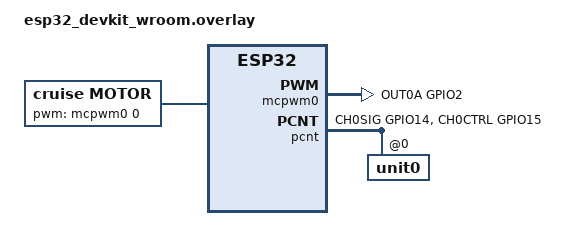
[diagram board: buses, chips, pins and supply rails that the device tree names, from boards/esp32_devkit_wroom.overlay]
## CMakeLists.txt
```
cmake_minimum_required(VERSION 3.20.0)

set(BOARD esp32_devkitc_wroom)
set(DTO_DIR ${CMAKE_CURRENT_SOURCE_DIR}/boards)
set(DTC_OVERLAY_FILE ${DTO_DIR}/esp32_devkit_wroom.overlay)
find_package(Zephyr REQUIRED HINTS $ENV{ZEPHYR_BASE})

project(cruise_control)

target_sources(app PRIVATE 
    src/serial/serial_handler.c
    src/control/motor.c
    src/control/pid.c
    src/control/moving_avg.c
    src/main.c
)
```

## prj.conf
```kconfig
CONFIG_ESP32_USE_UNSUPPORTED_REVISION=y
CONFIG_STDOUT_CONSOLE=y
CONFIG_UART_INTERRUPT_DRIVEN=y
CONFIG_GPIO=y
CONFIG_PWM=y
CONFIG_PWM_CAPTURE=y
CONFIG_FPU=y
CONFIG_SENSOR=y
```

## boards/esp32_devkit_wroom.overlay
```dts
/{

    motor: motor{
        compatible = "cruise,motor";
        pwms = <&mcpwm0 0 0 PWM_POLARITY_NORMAL>;

        motor_pins: pins {
            gpios = <&gpio0 5 GPIO_ACTIVE_HIGH>,
                    <&gpio0 18 	GPIO_ACTIVE_HIGH>;
            label = "motor_pins";
        };

    };

    aliases {
        qdec0 = &pcnt;
    };

};

&pinctrl {
    mcpwm0_default: mcpwm0_default {
        group1 {
            pinmux = <MCPWM0_OUT0A_GPIO2>;
            input-enable;
        };
    };

    pcnt_default: pcnt_default {
        group1 {
            pinmux = <PCNT0_CH0SIG_GPIO14>,
                     <PCNT0_CH0CTRL_GPIO15>;
            bias-pull-up;
        };
    };
};


&mcpwm0 {
    pinctrl-0 = <&mcpwm0_default>;
    pinctrl-names = "default";
    prescale = <3>;
    prescale-timer0 = <3>;
    status = "okay";
};


&pcnt {
    pinctrl-0 = <&pcnt_default>;
    pinctrl-names = "default";
    status = "okay";
    #address-cells = <1>;
    #size-cells = <0>;
    unit0@0 {
        reg = <0>;
        #address-cells = <1>;
        #size-cells = <0>;
        //filter = <100>;
        channelA@0 {
            reg = <0>;
            sig-pos-mode = <2>;
            sig-neg-mode = <1>;
            ctrl-h-mode = <0>;
            ctrl-l-mode = <1>;
        };
    };
};
```

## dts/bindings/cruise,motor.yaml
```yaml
description: |
    This binding provides resources required to use the pwm API with a generic application: This will be used to controll a motor later so now will be like this
compatible: "cruise,motor"

properties:
  pwms:
    type: phandle-array
    required: true
    description: |
      PWM pins that will be used for generating and capturing a pulse-width
      modulated signal. The pin at the first index will be used for signal
      generation while the pin at the second index will be used for capuring
      the generated signal.
  

child-binding:
  description: GPIO child node
  properties:
  
    gpios:
      type: phandle-array
      required: true
    
    label:
      type: string
      description: |
        Human readable string describing the gpio pin. It can be used by an
        application to identify this pin or to retrieve its number/index
        (i.e. child node number) on the parent device.
```

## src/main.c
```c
#include <zephyr/kernel.h>
#include <zephyr/sys/printk.h>
#include <zephyr/device.h>
#include "serial/serial_handler.h"
#include "control/motor.h"
#include <stdlib.h>
#include "pid.h"

#define q_msg_size 32

K_MSGQ_DEFINE(uart_queue, q_msg_size, 10, 4);

int main(void)
{

    char tx_buf[50];
    if (serial_init())
    {
        printk("Serial started");
    }
    else
    {
        printk("Serial got some error\n");
    }

    if (init_motor())
    {
        printk("PWM started");
    }
    else
    {
        printk("Error to start pwm");
    }

    //set_motor_direction_forward();
    set_motor_direction_backward();
    set_pwm_duty_period(0);
    start_pid_controller();
    int target = 0;
    while (1)
    {
        if (k_msgq_get(&uart_queue, &tx_buf, K_NO_WAIT) == 0)
        {
            target = atoi(tx_buf);
            if(target < 0){
                target *= -1;
            }
            set_pid_target_rpm(target);
        };
        k_sleep(K_USEC(50));
    }

    return 0;
}
```

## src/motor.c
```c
#include "motor.h"



/* Device structs*/
static const struct pwm_dt_spec pwm = PWM_DT_SPEC_GET_BY_IDX(DT_NODELABEL(motor), 0);
static const struct gpio_dt_spec forward_pin = GPIO_DT_SPEC_GET_BY_IDX(DT_NODELABEL(motor_pins),gpios,0);
static const struct gpio_dt_spec backward_pin = GPIO_DT_SPEC_GET_BY_IDX(DT_NODELABEL(motor_pins),gpios,1);
const struct device *const dev = DEVICE_DT_GET(DT_ALIAS(qdec0));


/* Motor status struct */

struct motor_status motor = {
    .isForward = false,
    .rpm = 0,
    .velocity = 0
};



/* Global variables for velocity*/
_Atomic int32_t current_rpm = 0;

static int16_t prev_pulse_count = 0;
static double velocity = 0.0;

/* Timer struct*/
static struct k_timer calculate_velocity_tim;

/* Velocity calc timer*/
static void calculate_velocity_tim_callback(struct k_timer *tim)
{
	struct sensor_value val;
    int16_t delta_count;

	if (sensor_sample_fetch(dev) != 0)
	{
		printk("Failed to fetch sample\n");
	}
	else
	{
		sensor_channel_get(dev, SENSOR_CHAN_ROTATION, &val);
        delta_count = val.val1 - prev_pulse_count;
        if(delta_count < 0){
            delta_count *= -1;
        }else{

        }
		velocity = ((double)(delta_count))/TIME_BASIS;
        current_rpm = (int32_t)((velocity/SHAFT_REVOLUTION_RATIO)*60);
		prev_pulse_count = val.val1;
        //printk("Current: | %d | Previous | %d |  Delta | %d | Current RPM: | %d |\n",val.val1,prev_pulse_count,delta_count,current_rpm);
	}
}


static bool is_direction_pins_ready(){
    if((!device_is_ready(forward_pin.port)) || (!device_is_ready(forward_pin.port))){
        printk("Error to config direction pin");
        return false;
    }else{
        if((gpio_pin_configure_dt(&forward_pin,GPIO_OUTPUT) != 0) ||(gpio_pin_configure_dt(&backward_pin,GPIO_OUTPUT) != 0)){
            printk("Error to config direction pin output");
            return false;
        }else{
            printk("Direction pin enabled");
            return true;

        }
        
    }
}

static bool is_pwm_ready()
{
    if (device_is_ready(pwm.dev))
    {
        printk("Looks like he is ready!!\nDevice channel: {%d}\nDevice period: {%d}\n", pwm.channel, pwm.period);
        return true;
    }
    else
    {
        printk("F is not ready yet\n");
        return false;
    }

}


// TODO: Handle error and send to caller
bool set_motor_direction_forward(){
    gpio_pin_set_dt(&backward_pin,GPIO_ACTIVE_LOW);
    gpio_pin_set_dt(&forward_pin,GPIO_ACTIVE_HIGH);
    motor.isForward = true;
    return true;
}

bool set_motor_direction_backward(){
    gpio_pin_set_dt(&backward_pin,GPIO_ACTIVE_HIGH);
    gpio_pin_set_dt(&forward_pin,GPIO_ACTIVE_LOW);
    motor.isForward = false;
    return true;
}

bool init_motor()
{
    if ((!is_pwm_ready()) || (!is_direction_pins_ready()))
    {
        printk("PWM Init Error");
        return false;
    }
    else
    {
        printk("PWM Init velicity Timer");
        k_timer_init(&calculate_velocity_tim, calculate_velocity_tim_callback, NULL);
	    k_timer_start(&calculate_velocity_tim,TIMER_PERIOD_AND_DURATION,TIMER_PERIOD_AND_DURATION);
        return true;
    }   
}

bool set_pwm_duty_period(uint32_t period_ns)
{
    if (period_ns > PWM_SIGNAL_FREQUENCY_NS)
    {
        return false;
    }
    else
    {
        int err;
        err = pwm_set(pwm.dev, pwm.channel, PWM_SIGNAL_FREQUENCY_NS, period_ns, PWM_POLARITY_NORMAL);
        if (err != 0)
        {
            printk("Error to set pwm out: Err{%d}\n", err);
            return false;
        }
        else
        {
            return true;
        }
    }
}
bool set_pwm_pulse_output_percent(uint8_t pulse_percent)
{
    int pulse_value;
    if (pulse_percent > 100)
    {
        return false;
    }
    else
    {
        
        pulse_value = (pulse_percent * PWM_SIGNAL_FREQUENCY_NS) / 100;
    }
    int err;
    err = pwm_set(pwm.dev, pwm.channel, PWM_SIGNAL_FREQUENCY_NS, pulse_value, PWM_POLARITY_NORMAL);
    if (err != 0)
    {
        printk("Error to set pwm out: Err{%d}\n", err);
        return false;
    }
    else
    {
        return true;
    }
}
int32_t get_current_rpm(){
    return current_rpm;
}
```

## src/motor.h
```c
#pragma once

#include <zephyr/device.h>
#include <zephyr/drivers/pwm.h>
#include <zephyr/kernel.h>
#include <zephyr/drivers/gpio.h>
#include <zephyr/drivers/sensor.h>


#define PWM_SIGNAL_FREQUENCY_NS PWM_HZ(1000)
#define PWM_POLARITY_NORMAL (0 << 0)

#define PULSE_REVOLUTION_RATIO 11
#define GEAR_RATIO 4.4
#define SHAFT_REVOLUTION_RATIO (PULSE_REVOLUTION_RATIO*GEAR_RATIO)

#define TIMER_PERIOD_AND_DURATION K_MSEC(10)
#define TIME_BASIS 0.01




struct motor_status{
    uint16_t rpm;
    uint16_t velocity;
    bool isForward;
};


bool init_motor();
bool set_pwm_duty_period(uint32_t period_ns);
bool set_pwm_pulse_output_percent(uint8_t pulse_percent);
bool set_motor_direction_backward();
bool set_motor_direction_forward();
int32_t get_current_rpm();
```

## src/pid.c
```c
#include "pid.h"

/* Global Variables*/
static int32_t error = 0;
static double prev_error = 0.0;
static int32_t target_value = 0;
static double integral_value = 0.0;
static double derivative_value = 0.0;
static double PID = 0;
//static uint32_t output = 0;



/* Timer struct */

static struct k_timer pid_controller_tim;

static void pid_controller()
{
    int32_t rpm = get_current_rpm();
    error = target_value - rpm;
    if(error == 0 && target_value == 0){
        PID = 0.0;
    }else{
        integral_value += (error * INTERVAL_PERIOD_FP);
        derivative_value = (error - prev_error) / INTERVAL_PERIOD_FP;
        PID = (KP * error) + (KI * integral_value) + (KD * derivative_value);
        //PID *= (double)PWM_SIGNAL_FREQUENCY_NS;
        if(PID >= MAX_OUTPUT){
            PID = MAX_OUTPUT;
        }else if(PID <= MIN_OUTPUT){
            PID = MIN_OUTPUT;
        }else{
            
        }

    }
    set_pwm_duty_period((uint32_t)PID);
    prev_error = error;

    //printk("RPM VALUE | %d | Target | %d | | Error | %d | PID | %f |\n",rpm, target_value ,error, PID);
    printk("%d,%d,%d\n",rpm, target_value ,error);
}

void set_pid_target_rpm(int16_t target)
{
    //printk("PID set target check");
    target_value = target;
}

void start_pid_controller()
{
    printk("PID start timer check");
    k_timer_init(&pid_controller_tim, pid_controller, NULL);
    k_timer_start(&pid_controller_tim, INTERVAL_PERIOD, INTERVAL_PERIOD);
}
```

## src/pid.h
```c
#pragma once

#include "motor.h"
#include <zephyr/kernel.h>
#include <zephyr/sys/printk.h>
#include <math.h>


#define KP 300
#define KI 50
#define KD 0.02
#define INTERVAL_PERIOD K_MSEC(20)
#define INTERVAL_PERIOD_FP 0.02

#define MAX_OUTPUT PWM_SIGNAL_FREQUENCY_NS
#define MIN_OUTPUT 0

void set_pid_target_rpm(int16_t target);
void start_pid_controller();
```

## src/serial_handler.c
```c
#include "serial_handler.h"


#define UART_DEVICE_NODE DT_CHOSEN(zephyr_shell_uart)

static const struct device *uart_dev = DEVICE_DT_GET(UART_DEVICE_NODE);


static struct buffer rx_buffer;

static void uart_cb_function(const struct device *dev, void *user_data){
    
    
    uint8_t c;
    if(!uart_irq_update(uart_dev)){
        return;
    }
    if(!uart_irq_rx_ready(uart_dev)){
        return;
    }else{
        while(uart_fifo_read(uart_dev,&c,1) == 1){
            if ((c == '\n' || c == '\r') && rx_buffer.pos > 0){
                rx_buffer.buffer[rx_buffer.pos] = '\0';
                k_msgq_put(&uart_queue,&rx_buffer.buffer,K_NO_WAIT);
                rx_buffer.pos = 0;
            }else if(rx_buffer.pos < (sizeof(rx_buffer.buffer) -1)){
                rx_buffer.buffer[rx_buffer.pos++] = c;
            }else{
                // MISRA
            }
        }
    }

}


bool serial_init(){
    printk("Check if device is ready");
    if(!device_is_ready(uart_dev)){
        printk("Device isn't ready lol boy\n");
        return false;
    }else{
        printk("Device is ready to go\n");

    }
    //int ret = uart_irq_callback_user_data_set(uart_dev,uart_cb_function,(void *)rx_buffer);
    int ret = uart_irq_callback_user_data_set(uart_dev,uart_cb_function,NULL);
    if (ret < 0) {
		if (ret == -ENOTSUP) {
			printk("Interrupt-driven UART API support not enabled\n");
		} else if (ret == -ENOSYS) {
			printk("UART device does not support interrupt-driven API\n");
		} else {
			printk("Error setting UART callback: %d\n", ret);
		}
		return false;
	}else{
        printk("Callback seted\n");
    }
    uart_irq_tx_enable(uart_dev);
    uart_irq_rx_enable(uart_dev);

    return true;
}
```

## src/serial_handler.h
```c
#pragma once
#include <zephyr/kernel.h>
#include <zephyr/device.h>
#include <zephyr/drivers/uart.h>
#include <zephyr/sys/printk.h>
#include <string.h>


extern struct k_msgq uart_queue; 

struct buffer {
    uint8_t buffer[50];
    uint8_t pos;
};

bool serial_init();
```

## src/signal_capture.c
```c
#include "signal_capture.h"

static const struct pwm_dt_spec pwm = PWM_DT_SPEC_GET_BY_IDX(DT_NODELABEL(motor), 0);
static const struct pwm_dt_spec cap = PWM_DT_SPEC_GET_BY_IDX(DT_NODELABEL(motor), 1);


static uint32_t current_rpm = 0;

static void capture_handler(const struct device *dev, uint32_t channel, uint32_t period_cycles, uint32_t pulse_cycles, int status, void *user_data)
{
    if (status != 0)
    {
        printk("Error to capture - status: [%d]", status);
    }
    else
    {

        double frequency = 1.0 / ((double)period_cycles / (double)DEVICE_FREQUENCY_HZ);
        double rpm = (frequency * 60.0) / (SHAFT_REVOLUTION_RATIO);
        // double duty = ((double)pulse_cycles / (double)period_cycles) * 100.0;
        current_rpm = (uint32_t)rpm;
        printk("RPM from cap 0: %f\n", rpm);
    }
}

static bool is_pwm_ready()
{
    if (device_is_ready(pwm.dev))
    {
        printk("Looks like he is ready!!\nDevice channel: {%d}\nDevice period: {%d}\n", pwm.channel, pwm.period);
    }
    else
    {
        printk("F is not ready yet\n");
        return false;
    }

    if (device_is_ready(cap.dev))
    {
        printk("Looks like out is ready!!\nDevice channel: {%d}\nDevice period: {%d}\n", cap.channel, cap.period);
    }
    else
    {
        printk("F out is not ready yet\n");
        return false;
    }
    return true;
}

bool init_pwms()
{
    if (!is_pwm_ready())
    {
        printk("PWM Init Error");
        return false;
    }
    else
    {
        int ret = pwm_configure_capture(cap.dev, cap.channel, (PWM_CAPTURE_TYPE_BOTH | PWM_CAPTURE_MODE_CONTINUOUS), capture_handler, NULL);
        if (ret != 0)
        {
            return false;
        }
        else
        {
            // no if without else
        }

        ret = pwm_enable_capture(cap.dev, cap.channel);
        if (ret != 0)
        {
            return false;
        }
        else
        {
            // no if without else
        }

        return true;
    }   
}

bool set_pwm_duty_period(uint32_t period_ns)
{
    if (period_ns > PWM_SIGNAL_FREQUENCY_NS)
    {
        return false;
    }
    else
    {
        int err;
        err = pwm_set(pwm.dev, pwm.channel, PWM_SIGNAL_FREQUENCY_NS, period_ns, PWM_POLARITY_NORMAL);
        if (err != 0)
        {
            printk("Error to set pwm out: Err{%d}\n", err);
            return false;
        }
        else
        {
            return true;
        }
    }
}
bool set_pwm_pulse_output_percent(uint8_t pulse_percent)
{
    int pulse_value;
    if (pulse_percent > 100)
    {
        return false;
    }
    else
    {
        pulse_value = (pulse_percent * PWM_SIGNAL_FREQUENCY_NS) / 100;
    }
    int err;
    err = pwm_set(pwm.dev, pwm.channel, PWM_SIGNAL_FREQUENCY_NS, pulse_value, PWM_POLARITY_NORMAL);
    if (err != 0)
    {
        printk("Error to set pwm out: Err{%d}\n", err);
        return false;
    }
    else
    {
        return true;
    }
}
uint32_t get_current_rpm(){
    return current_rpm;
}
```

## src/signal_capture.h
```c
#pragma once

#include <zephyr/device.h>
#include <zephyr/drivers/pwm.h>
#include <zephyr/kernel.h>



#define DEVICE_FREQUENCY_HZ 80000000
#define PWM_SIGNAL_FREQUENCY_NS PWM_HZ(60)
#define PWM_POLARITY_NORMAL (0 << 0)

#define PULSE_REVOLUTION_RATIO 11
#define GEAR_RATIO 4.4
#define SHAFT_REVOLUTION_RATIO (PULSE_REVOLUTION_RATIO*GEAR_RATIO)

bool init_pwms();
bool set_pwm_duty_period(uint32_t period_ns);
bool set_pwm_pulse_output_percent(uint8_t pulse_percent);
uint32_t get_current_rpm();
```
